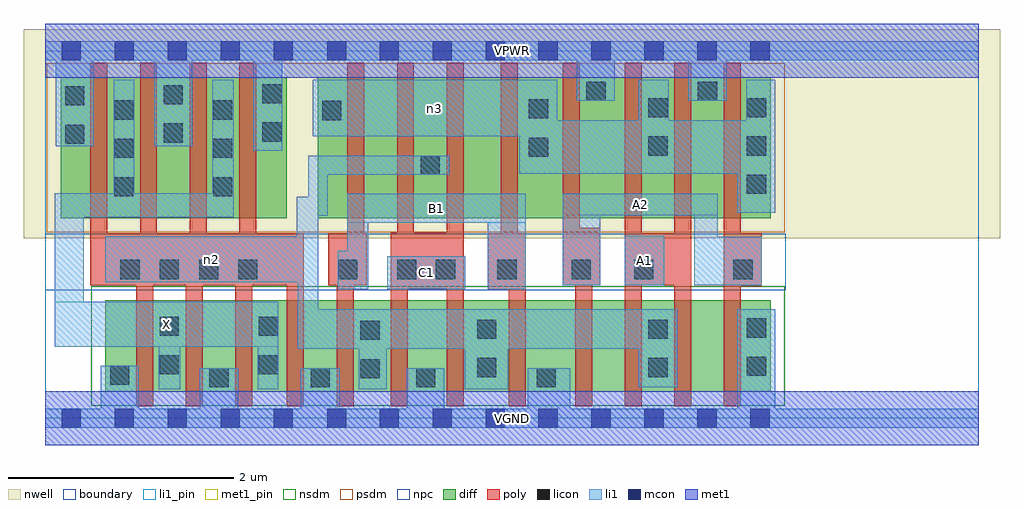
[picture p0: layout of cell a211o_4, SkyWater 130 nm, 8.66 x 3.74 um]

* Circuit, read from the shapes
.subckt a211o_4 A1 A2 B1 C1 VGND VPWR X n2 n3
XM1 X n2 VGND VSUBS sky130_fd_pr__nfet_01v8 w=0.81 l=0.15 m=4
XM2 n2 B1 VGND VSUBS sky130_fd_pr__nfet_01v8 w=0.81 l=0.15 m=2
XM3 VGND C1 n2 VSUBS sky130_fd_pr__nfet_01v8 w=0.81 l=0.15 m=2
XM4 n1 A2 VGND VSUBS sky130_fd_pr__nfet_01v8 w=0.81 l=0.15
XM5 n2 A1 n1 VSUBS sky130_fd_pr__nfet_01v8 w=0.81 l=0.15
XM6 n4 A1 n2 VSUBS sky130_fd_pr__nfet_01v8 w=0.81 l=0.15
XM7 VGND A2 n4 VSUBS sky130_fd_pr__nfet_01v8 w=0.81 l=0.15
XM8 X n2 VPWR n5 sky130_fd_pr__pfet_01v8 w=1.25 l=0.15 m=4
XM9 n6 B1 n3 n5 sky130_fd_pr__pfet_01v8 w=1.25 l=0.15
XM10 n2 C1 n6 n5 sky130_fd_pr__pfet_01v8 w=1.25 l=0.15
XM11 n7 C1 n2 n5 sky130_fd_pr__pfet_01v8 w=1.25 l=0.15
XM12 n3 B1 n7 n5 sky130_fd_pr__pfet_01v8 w=1.25 l=0.15
XM13 VPWR A2 n3 n5 sky130_fd_pr__pfet_01v8 w=1.25 l=0.15 m=2
XM14 n3 A1 VPWR n5 sky130_fd_pr__pfet_01v8 w=1.25 l=0.15 m=2
.ends

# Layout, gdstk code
import gdstk
lib = gdstk.Library(unit=1e-6, precision=1e-09)
def R(c, l, rs):  # rectangles x0, y0, x1, y1
    for r in rs: c.add(gdstk.rectangle(r[:2], r[2:], *l))
def A(c, l, x, y, w, h, nx, ny, dx, dy):  # array of equal rectangles
    R(c, l, [(x+i*dx, y+j*dy, x+i*dx+w, y+j*dy+h) for i in range(nx) for j in range(ny)])
nwell = (64, 20)
diff = (65, 20)
poly = (66, 20)
licon = (66, 44)
li1_pin = (67, 16)
li1 = (67, 20)
mcon = (67, 44)
met1_pin = (68, 16)
met1 = (68, 20)
nsdm = (93, 44)
psdm = (94, 20)
npc = (95, 20)
boundary = (235, 4)

a211o_4 = lib.new_cell('a211o_4')
R(a211o_4, nwell, [(-0.19,1.595,8.47,3.45), (0,1.595,8.28,3.45)])
R(a211o_4, diff, [(0.53,0.235,6.435,1.045), (0.135,1.775,2.14,3.025), (2.415,1.775,6.435,3.025)])
A(a211o_4, poly, 0.805, 0.105, 0.15, 1.535, 3, 1, 0.44, 0)
A(a211o_4, poly, 5.14, 0.105, 0.15, 3.05, 3, 1, 0.44, 0)
A(a211o_4, poly, 0.4, 1.18, 0.15, 1.975, 4, 1, 0.44, 0)
R(a211o_4, poly, [(2.14,0.105,2.29,1.64), (2.585,0.105,2.735,1.64), (3.065,0.105,3.215,1.645), (3.56,0.105,3.71,3.155), (4.11,0.105,4.26,1.64), (4.7,0.105,4.85,1.69), (3.925,1.145,4.26,1.64), (4.04,1.145,4.19,3.155), (3.065,1.15,3.71,1.645), (3.12,1.15,3.27,3.155), (6.02,1.17,6.355,1.64), (0.4,1.18,2.29,1.64), (2.51,1.18,2.85,1.64), (2.68,1.18,2.83,3.155), (4.59,1.18,4.74,3.155), (4.59,1.18,4.925,1.69), (5.14,1.18,5.73,1.64)])
A(a211o_4, licon, 0.665, 1.235, 0.17, 0.17, 3, 1, 0.35, 0)
A(a211o_4, licon, 0.61, 1.97, 0.17, 0.17, 1, 3, 0, 0.34)
A(a211o_4, licon, 1.49, 1.97, 0.17, 0.17, 1, 3, 0, 0.34)
A(a211o_4, licon, 6.225, 1.99, 0.17, 0.17, 1, 3, 0, 0.34)
R(a211o_4, licon, [(1.455,0.275,1.625,0.445), (2.355,0.275,2.525,0.445), (3.29,0.275,3.46,0.445), (4.36,0.275,4.53,0.445), (0.575,0.295,0.745,0.465), (2.795,0.355,2.965,0.525), (3.83,0.365,4,0.535), (5.35,0.365,5.52,0.535), (6.225,0.375,6.395,0.545), (1.015,0.39,1.185,0.56), (1.895,0.39,2.065,0.56), (2.795,0.695,2.965,0.865), (3.83,0.705,4,0.875), (5.35,0.705,5.52,0.875), (6.225,0.715,6.395,0.885), (1.015,0.73,1.185,0.9), (1.895,0.73,2.065,0.9), (1.71,1.235,1.88,1.405), (2.595,1.235,2.765,1.405), (3.12,1.235,3.29,1.405), (3.465,1.235,3.635,1.405), (4.01,1.235,4.18,1.405), (4.67,1.235,4.84,1.405), (5.225,1.235,5.395,1.405), (6.105,1.235,6.275,1.405), (3.33,2.16,3.5,2.33), (4.29,2.32,4.46,2.49), (5.35,2.33,5.52,2.5), (0.175,2.435,0.345,2.605), (1.05,2.445,1.22,2.615), (1.925,2.455,2.095,2.625), (2.455,2.645,2.625,2.815), (4.29,2.66,4.46,2.83), (5.35,2.67,5.52,2.84), (0.175,2.775,0.345,2.945), (1.05,2.785,1.22,2.955), (1.925,2.795,2.095,2.965), (4.8,2.815,4.97,2.985), (5.79,2.815,5.96,2.985)])
R(a211o_4, li1_pin, [(0.085,0.635,2.065,1.035), (3.035,1.145,3.725,1.435), (5.14,1.18,5.49,1.62), (2.68,1.735,4.26,1.99), (4.59,1.8,5.965,1.99)])
R(a211o_4, li1, [(0,-0.085,8.28,0.085), (0.49,-0.085,0.83,0.465), (1.37,-0.085,1.71,0.445), (2.265,-0.085,2.61,0.445), (3.205,-0.085,3.54,0.445), (4.28,-0.085,4.655,0.445), (6.14,-0.085,6.475,0.965), (1.005,0.255,1.195,1.035), (1.885,0.255,2.065,1.035), (2.78,0.255,3.03,0.965), (3.72,0.255,4.105,0.965), (5.265,0.275,5.605,0.965), (2.24,0.615,5.605,0.965), (2.24,0.615,2.42,1.965), (0.085,0.635,2.065,1.035), (0.085,0.635,0.34,1.995), (1.005,0.775,2.065,1.035), (2.595,1.145,2.865,1.485), (2.68,1.145,2.865,1.99), (3.035,1.145,3.725,1.435), (3.925,1.145,4.26,1.99), (4.59,1.18,4.925,1.99), (5.14,1.18,5.49,1.62), (5.755,1.18,6.355,1.61), (5.755,1.18,5.965,1.99), (0.53,1.205,2.42,1.615), (2.23,1.205,2.42,1.965), (2.68,1.735,4.26,1.99), (0.085,1.785,1.67,1.995), (0.605,1.785,0.79,3.005), (1.48,1.785,1.67,3.005), (2.33,1.795,2.505,2.33), (4.59,1.8,5.965,1.99), (6.14,1.825,6.475,2.645), (6.22,1.825,6.475,3.005), (2.33,2.16,3.585,2.33), (4.205,2.17,6.475,2.645), (4.205,2.17,4.54,3.005), (5.265,2.17,5.53,3.005), (1.845,2.375,2.1,3.345), (0.09,2.415,0.43,3.345), (0.965,2.415,1.305,3.345), (2.37,2.5,4.54,3.005), (4.715,2.815,5.05,3.345), (5.705,2.815,6.045,3.345), (0,3.175,8.28,3.345)])
A(a211o_4, mcon, 0.145, -0.085, 0.17, 0.17, 5, 2, 0.47, 3.26)
A(a211o_4, mcon, 2.965, -0.085, 0.17, 0.17, 8, 2, 0.47, 3.26)
R(a211o_4, mcon, [(2.5,-0.085,2.67,0.085), (2.5,3.175,2.67,3.345)])
R(a211o_4, met1_pin, [(0,-0.24,8.28,0.24), (0,3.02,8.28,3.5)])
R(a211o_4, met1, [(0,-0.24,8.28,0.24), (0,3.02,8.28,3.5)])
R(a211o_4, nsdm, [(0.405,0.11,6.56,1.17)])
R(a211o_4, psdm, [(0.01,1.65,6.56,3.15)])
R(a211o_4, npc, [(0,1.135,6.57,1.635)])
R(a211o_4, boundary, [(0,0,8.28,3.26)])
a211o_4.add(gdstk.Label('A1', (5.315,1.4), layer=67, texttype=5))
a211o_4.add(gdstk.Label('A2', (5.277,1.895), layer=67, texttype=5))
a211o_4.add(gdstk.Label('B1', (3.47,1.862), layer=67, texttype=5))
a211o_4.add(gdstk.Label('C1', (3.38,1.29), layer=67, texttype=5))
a211o_4.add(gdstk.Label('X', (1.075,0.835), layer=67, texttype=5))
a211o_4.add(gdstk.Label('n2', (1.475,1.41), layer=67, texttype=5))
a211o_4.add(gdstk.Label('n3', (3.455,2.752), layer=67, texttype=5))
a211o_4.add(gdstk.Label('VPWR', (4.14,3.26), layer=68, texttype=5))
a211o_4.add(gdstk.Label('VGND', (4.14,0), layer=68, texttype=5))
a211o_4.add(gdstk.Label('A1', (5.315,1.4), layer=67, texttype=16))
a211o_4.add(gdstk.Label('A2', (5.277,1.895), layer=67, texttype=16))
a211o_4.add(gdstk.Label('B1', (3.47,1.862), layer=67, texttype=16))
a211o_4.add(gdstk.Label('C1', (3.38,1.29), layer=67, texttype=16))
a211o_4.add(gdstk.Label('X', (1.075,0.835), layer=67, texttype=16))
a211o_4.add(gdstk.Label('VPWR', (4.14,3.26), layer=68, texttype=16))
a211o_4.add(gdstk.Label('VGND', (4.14,0), layer=68, texttype=16))

lib.write_gds('a211o_4.gds')
